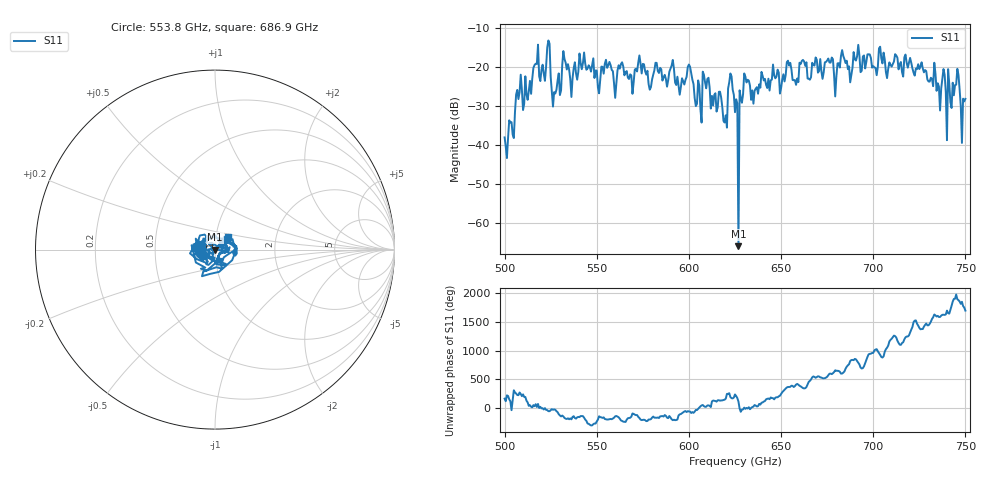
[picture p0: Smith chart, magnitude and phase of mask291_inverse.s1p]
!Created with skrf (http://scikit-rf.org).
# GHz S MA R 50.0
!freq magS11 angS11
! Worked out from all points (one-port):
!   401 points, 500 GHz to 750 GHz, reference 50 ohm
!   lowest |S11| = -66.0 dB at 626.9 GHz (marker M1), VSWR 1.00, Z = 50 + j0.0457 ohm
!   |S11| at or under -10 dB: start of sweep to end of sweep
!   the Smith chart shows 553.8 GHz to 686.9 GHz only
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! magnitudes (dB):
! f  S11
! 500 GHz  -38.1
! 507.5 GHz  -28.2
! 513.1 GHz  -26.1
! 516.9 GHz  -19.1
! 520.6 GHz  -19.4
! 523.8 GHz  -13.2
! 526.9 GHz  -26.5
! 531.2 GHz  -19.6
! 562.5 GHz  -20.4
! 579.4 GHz  -25.2
! 590.6 GHz  -19.6
! 593.8 GHz  -22.5
! 600.6 GHz  -19.9
! 605.6 GHz  -24.7
! 608.8 GHz  -23.9
! 619.4 GHz  -34.2
! 622.5 GHz  -21.7
! 625 GHz  -31.6
! 625.6 GHz  -28.3
! 626.9 GHz  -66.0
! 631.2 GHz  -24.0
! 635 GHz  -29.4
! 656.2 GHz  -23.3
! 683.8 GHz  -17.2
! 687.5 GHz  -23.9
! 690.6 GHz  -18.3
! 718.8 GHz  -20.2
! 750 GHz  -28.2
